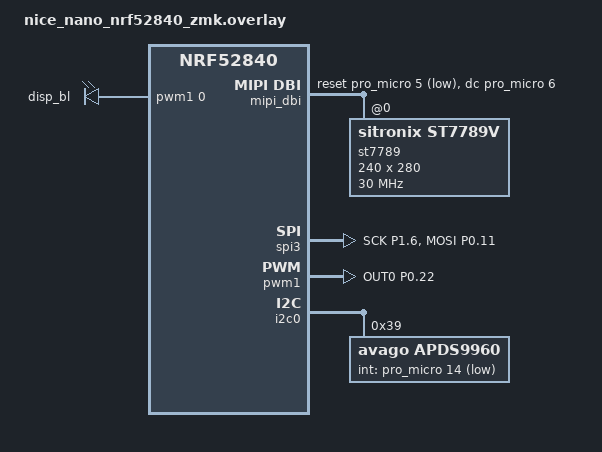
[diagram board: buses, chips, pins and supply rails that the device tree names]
/*
 * Hardware del dongle sobre la nice!nano: la pantalla Prospector (ST7789V2
 * 240x280) con su sensor de luz APDS9960.
 *
 * Reparto de buses. En el nRF52840 spi0<->i2c0 y spi1<->i2c1 comparten
 * instancia, y spi3 es el unico SPIM que llega a 32 MHz:
 *   - pantalla  -> spi3
 *   - APDS9960  -> i2c0 (pinctrl por defecto de la placa: SDA D2, SCL D3)
 *
 * Cableado (los numeros D son los de la serigrafia pro micro):
 *
 *   Pantalla   nice!nano   GPIO
 *   SCK/SCL    D9          P1.06
 *   MOSI/SDA   D7          P0.11
 *   CS         D8          P1.04
 *   DC         D6          P1.00
 *   RST        D5          P0.24
 *   BL/BLK     D4          P0.22   (pwm1 canal 0)
 *
 *   APDS9960   nice!nano   GPIO
 *   SDA        D2          P0.17
 *   SCL        D3          P0.20
 *   INT        D14         P1.11
 *
 * El ST7789 es solo escritura: no hay MISO.
 *
 * El shield prospector_adapter va DETRAS de corne_dongle en build.yaml. Su
 * overlay hace `chosen { zephyr,display = &st7789; }` y su codigo usa los
 * labels st7789, disp_bl (hijo de un pwm-leds) y apds9960, asi que esos tres
 * nombres no se pueden cambiar. Esto es la adaptacion del xiao_ble_zmk.overlay
 * del modulo (rama feat/new-status-screens) a los pines de la nice!nano.
 */

/* ---------------------------------------------------------------------------
 * Pantalla ST7789V2 240x280
 * ------------------------------------------------------------------------- */

&pinctrl {
    spi3_default: spi3_default {
        group1 {
            psels = <NRF_PSEL(SPIM_SCK, 1, 6)>,
                    <NRF_PSEL(SPIM_MOSI, 0, 11)>;
        };
    };

    spi3_sleep: spi3_sleep {
        group1 {
            psels = <NRF_PSEL(SPIM_SCK, 1, 6)>,
                    <NRF_PSEL(SPIM_MOSI, 0, 11)>;
            low-power-enable;
        };
    };

    /*
     * nordic,invert viene tal cual del overlay de la XIAO, que usa esta misma
     * pantalla. Si la pantalla se OSCURECE al subir el brillo, quitarlo.
     */
    pwm1_default: pwm1_default {
        group1 {
            psels = <NRF_PSEL(PWM_OUT0, 0, 22)>;
            nordic,invert;
        };
    };

    pwm1_sleep: pwm1_sleep {
        group1 {
            psels = <NRF_PSEL(PWM_OUT0, 0, 22)>;
            low-power-enable;
        };
    };
};

&spi3 {
    compatible = "nordic,nrf-spim";
    status = "okay";

    pinctrl-0 = <&spi3_default>;
    pinctrl-1 = <&spi3_sleep>;
    pinctrl-names = "default", "sleep";

    cs-gpios = <&pro_micro 8 GPIO_ACTIVE_LOW>;
};

&pwm1 {
    status = "okay";
    pinctrl-0 = <&pwm1_default>;
    pinctrl-1 = <&pwm1_sleep>;
    pinctrl-names = "default", "sleep";
};

/ {
    pwmleds {
        compatible = "pwm-leds";
        disp_bl: pwm_led_1 {
            pwms = <&pwm1 0 PWM_MSEC(1) PWM_POLARITY_NORMAL>;
        };
    };

    mipi_dbi {
        compatible = "zephyr,mipi-dbi-spi";
        spi-dev = <&spi3>;
        dc-gpios = <&pro_micro 6 GPIO_ACTIVE_HIGH>;
        reset-gpios = <&pro_micro 5 GPIO_ACTIVE_LOW>;
        write-only;
        #address-cells = <1>;
        #size-cells = <0>;

        /* Parametros del panel: copia literal del overlay de la XIAO. */
        st7789: st7789v@0 {
            compatible = "sitronix,st7789v";
            mipi-max-frequency = <30000000>;
            mipi-mode = "MIPI_DBI_MODE_SPI_4WIRE";
            reg = <0>;
            width = <240>;
            height = <280>;
            x-offset = <0>;
            y-offset = <20>;
            vcom = <0x19>;
            gctrl = <0x35>;
            vrhs = <0x12>;
            vdvs = <0x20>;
            mdac = <0x00>;
            gamma = <0x01>;
            colmod = <0x05>;
            lcm = <0x2c>;
            porch-param = [ 0c 0c 00 33 33 ];
            cmd2en-param = [ 5a 69 02 01 ];
            pwctrl1-param = [ a4 a1 ];
            pvgam-param = [ D0 04 0D 11 13 2B 3F 54 4C 18 0D 0B 1F 23 ];
            nvgam-param = [ D0 04 0C 11 13 2C 3F 44 51 2F 1F 1F 20 23 ];
            ram-param = [ 00 F0 ];
            rgb-param = [ CD 08 14 ];
        };
    };
};

/* ---------------------------------------------------------------------------
 * Sensor de luz APDS9960
 *
 * Lo lee src/display_als_backlight.c (CONFIG_DONGLE_ALS) a mano por I2C: el
 * driver de Zephyr no se compila (no hay CONFIG_SENSOR) porque rechaza el ID
 * del clon montado. Del nodo solo se usan el bus y la direccion; int-gpios se
 * queda por si algun dia se vuelve al driver o al hilo del modulo.
 * ------------------------------------------------------------------------- */

&spi0 {
    status = "disabled";
};

&i2c0 {
    status = "okay";

    apds9960: apds9960@39 {
        compatible = "avago,apds9960";
        status = "okay";
        reg = <0x39>;
        int-gpios = <&pro_micro 14 (GPIO_ACTIVE_LOW | GPIO_PULL_UP)>;
    };
};
